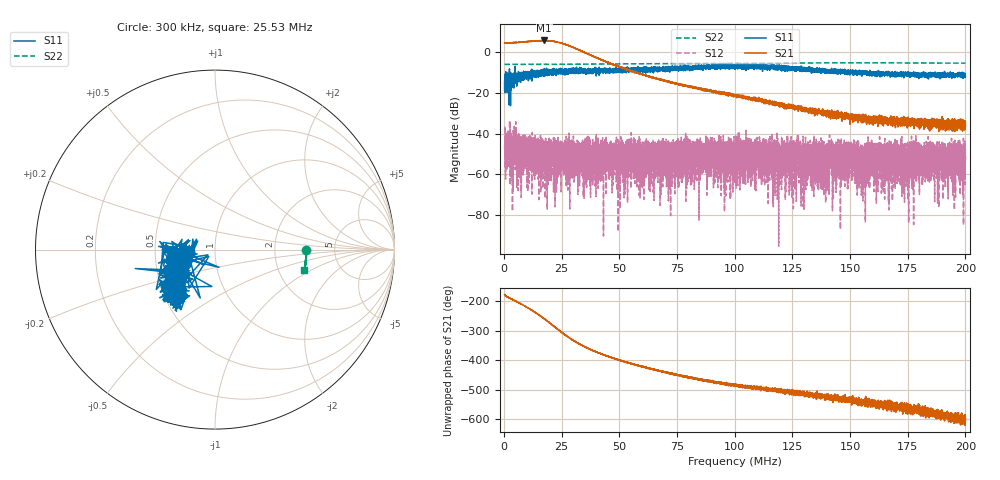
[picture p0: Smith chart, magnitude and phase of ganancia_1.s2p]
# Hz S DB R 50
! CMT, M5065, 19127446, 24.2.4/2
! Date: 11/8/2024 4:48:29 PM
! Data: Format (Calibration Info)
! Freq	S11:dB/Ang(F2)	S21:dB/Ang(F2)	S12:dB/Ang(F2)	S22:dB/Ang(F2)
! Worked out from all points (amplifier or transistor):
!   9000 points, 300 kHz to 200 MHz, reference 50 ohm
!   highest |S21| = 5.9 dB at 17.41 MHz (marker M1)
!   |S21| within 3 dB of that: start of sweep to 29.01 MHz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
!   unconditionally stable (mu >= 1): start of sweep to end of sweep
!   at 33.59 MHz: K = 199.94, MAG = 2.6 dB, |S12| = -56.5 dB
!   at 100.2 MHz: K = 2422.03, MAG = -18.7 dB, |S12| = -57.6 dB
!   at 200 MHz: K = 7548.37, MAG = -34.5 dB, |S12| = -50.9 dB
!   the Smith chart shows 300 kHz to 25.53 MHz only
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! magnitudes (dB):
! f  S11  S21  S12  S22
! 300 kHz  -14.2  4.6  -47.6  -5.9
! 2.364 MHz  -11.2  4.6  -44.7  -5.9
! 6.558 MHz  -12.1  4.9  -45.0  -5.9
! 11.51 MHz  -11.6  5.4  -45.0  -5.8
! 17.41 MHz  -9.4  5.9  -48.9  -5.8
! 33.59 MHz  -9.0  0.7  -56.5  -5.8
! 41.84 MHz  -9.2  -3.4  -63.3  -5.7
! 43.66 MHz  -8.6  -4.2  -51.3  -5.7
! 51.89 MHz  -9.8  -7.9  -50.5  -5.6
! 53.78 MHz  -9.1  -8.6  -53.6  -5.6
! 61.95 MHz  -8.4  -11.4  -48.5  -5.6
! 64.06 MHz  -8.5  -12.2  -57.7  -5.5
! 66.87 MHz  -7.9  -13.0  -60.1  -5.5
! 71.33 MHz  -8.6  -14.6  -44.7  -5.5
! 83.5 MHz  -6.9  -17.3  -53.6  -5.5
! 100.2 MHz  -6.6  -21.2  -57.6  -5.4
! 124.6 MHz  -7.1  -26.1  -55.2  -5.3
! 127.6 MHz  -8.0  -27.2  -51.4  -5.2
! 129.6 MHz  -8.6  -27.9  -50.8  -5.2
! 133.4 MHz  -9.3  -28.0  -50.4  -5.2
! 166.7 MHz  -10.4  -34.1  -49.2  -5.1
! 200 MHz  -11.9  -36.3  -50.9  -5.3
